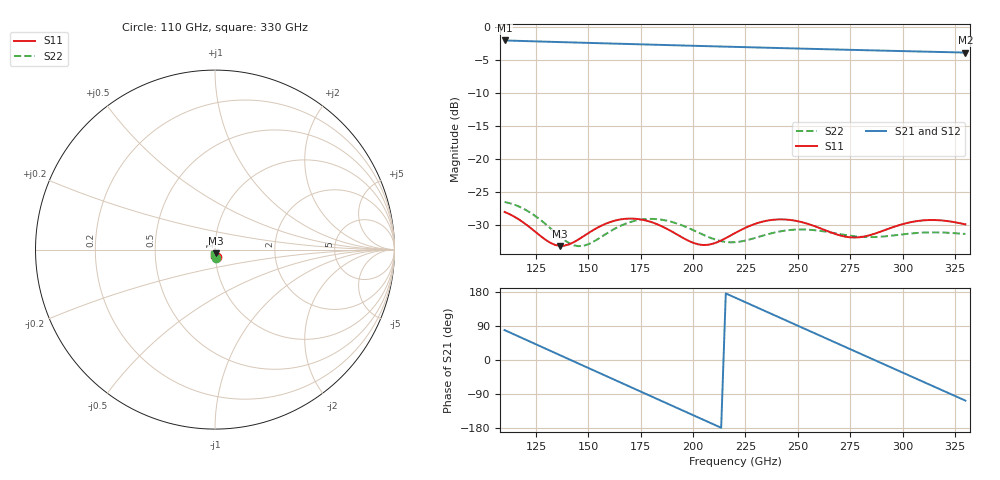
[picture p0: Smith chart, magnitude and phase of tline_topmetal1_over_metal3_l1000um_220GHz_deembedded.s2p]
! Created with skrf 2.2.0 (http://scikit-rf.org).
# GHz S DB R 50.0
! Port[1] = P1
! Port[2] = P2
!freq dBS11 angS11 dBS21 angS21 dBS12 angS12 dBS22 angS22
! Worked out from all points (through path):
!   101 points, 110 GHz to 330 GHz, reference 50 ohm
!   highest |S21| = -2.09 dB at 110 GHz (marker M1); lowest = -3.9 dB at 330 GHz (marker M2)
!   group delay of S21, straight-line fit = 6.89 ps
!   lowest |S11| = -33.2 dB at 136.4 GHz (marker M3), VSWR 1.04, Z = 50.5 - j2.13 ohm
!   |S11| at or under -10 dB: start of sweep to end of sweep
!   |S22| runs from -33.2 to -26.5 dB; largest |S21 - S12| = 1.1e-13
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110  -28.06 -77.2  -2.09 78.9  -2.09 78.9  -26.54 -82.6
123.2  -30.68 -87.6  -2.21 45.9  -2.21 45.9  -28.35 -100.6
136.4  -33.19 -74.4  -2.34 12.9  -2.34 12.9  -31.78 -103.8
147.4  -31.79 -61.1  -2.43 -14.6  -2.43 -14.6  -33.19 -86.9
156.2  -30.13 -62.9  -2.51 -36.6  -2.51 -36.6  -31.82 -77.2
167.2  -29.10 -73.1  -2.61 -64.0  -2.61 -64.0  -29.90 -80.2
176  -29.24 -82.6  -2.69 -85.9  -2.69 -85.9  -29.17 -88.3
184.8  -30.18 -90.0  -2.76 -107.8  -2.76 -107.8  -29.22 -97.2
202.4  -32.95 -84.6  -2.91 -151.5  -2.91 -151.5  -31.15 -107.4
211.2  -32.68 -73.6  -2.99 -173.4  -2.99 -173.4  -32.30 -104.5
220  -31.25 -69.3  -3.06 164.8  -3.06 164.8  -32.63 -97.6
228.8  -29.94 -72.5  -3.14 143.0  -3.14 143.0  -32.06 -92.7
239.8  -29.20 -81.4  -3.23 115.7  -3.23 115.7  -31.11 -93.3
248.6  -29.37 -88.9  -3.30 93.9  -3.30 93.9  -30.73 -96.9
257.4  -30.14 -94.0  -3.37 72.1  -3.37 72.1  -30.80 -100.8
266.2  -31.20 -94.4  -3.44 50.4  -3.44 50.4  -31.19 -103.1
277.2  -31.93 -87.3  -3.53 23.2  -3.53 23.2  -31.74 -102.3
286  -31.42 -81.1  -3.59 1.4  -3.59 1.4  -31.86 -99.7
294.8  -30.43 -79.8  -3.66 -20.3  -3.66 -20.3  -31.64 -97.8
312.4  -29.28 -87.9  -3.79 -63.7  -3.79 -63.7  -31.15 -98.8
321.2  -29.42 -92.7  -3.86 -85.5  -3.86 -85.5  -31.20 -100.0
330  -29.93 -95.4  -3.92 -107.2  -3.92 -107.2  -31.38 -99.9
